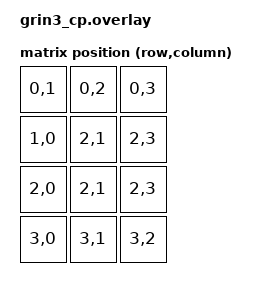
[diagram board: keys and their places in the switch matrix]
#include <dt-bindings/zmk/matrix_transform.h>
#include "grin3.dtsi"
#include "grin3-pinctrl.dtsi"

/ {
  chosen {
    zmk,physical-layout = &grin3_physical_layout;
  };

  grin3_physical_layout: grin3_physical_layout {
      compatible = "zmk,physical-layout";
      display-name = "Default";
      transform = <&default_transform>;
      kscan = <&kscan0>;

      keys  //                     w   h    x    y     rot    rx    ry
          = <&key_physical_attrs 100 100    0    0       0     0     0>
          , <&key_physical_attrs 100 100  100    0       0     0     0>
          , <&key_physical_attrs 100 100  201    2     375   251    52>
          , <&key_physical_attrs 150 100    0  100       0     0     0>
          , <&key_physical_attrs 100 100  150  100     125   200   150>
          , <&key_physical_attrs 100 100  251  107     625   301   157>
          , <&key_physical_attrs 175 100    0  200       0     0     0>
          , <&key_physical_attrs 100 100  175  201     250   225   251>
          , <&key_physical_attrs 100 100  276  210     750   326   260>
          , <&key_physical_attrs 100 100  375  227    1250   425   277>
          , <&key_physical_attrs 225 100    0  300       0     0     0>
          , <&key_physical_attrs 100 100  226  304     500   276   354>
          , <&key_physical_attrs 100 100  326  318    1000   376   368>
          ;


    default_transform: keymap_transform_0 {
      compatible = "zmk,matrix-transform";
      columns = <4>;
      rows = <4>;

      map = <
        RC(0,1) RC(0,2) RC(0,3) 
        RC(1,0) RC(2,1) RC(2,3)
        RC(2,0) RC(2,1) RC(2,3)
        RC(3,0) RC(3,1) RC(3,2)
        >;
    };
 
    kscan0: kscan_0 {
        compatible = "zmk,kscan-gpio-charlieplex";
 
        interrupt-gpios = <&shifter 5 (GPIO_ACTIVE_LOW | GPIO_PULL_UP)>;
    };
}
